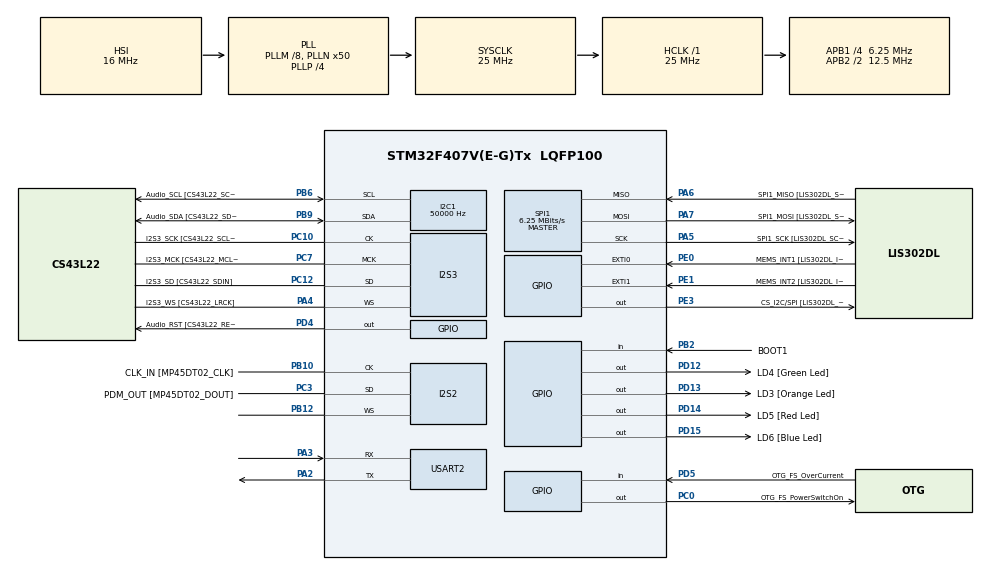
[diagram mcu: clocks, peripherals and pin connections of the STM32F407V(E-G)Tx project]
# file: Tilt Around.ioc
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I2C1.ClockSpeed=50000
I2S2.AudioFreq=I2S_AUDIOFREQ_192K
I2S2.ErrorAudioFreq=2.3 %
I2S2.Mode=I2S_MODE_MASTER_RX
I2S2.RealAudioFreq=196.428 KHz
I2S3.AudioFreq=I2S_AUDIOFREQ_44K
I2S3.ErrorAudioFreq=-2.34 %
I2S3.RealAudioFreq=42.968 KHz
I2S3.Standard=I2S_STANDARD_MSB
Mcu.Family=STM32F4
Mcu.Name=STM32F407V(E-G)Tx
Mcu.Package=LQFP100
NVIC.PriorityGroup=NVIC_PRIORITYGROUP_0
NVIC.TIM3_IRQn=true\:0\:0\:false\:false\:true
PA10.GPIO_Label=OTG_FS_ID
PA10.GPIO_Mode=GPIO_MODE_AF_PP
PA10.GPIO_PuPd=GPIO_NOPULL
PA10.GPIO_Speed=GPIO_SPEED_FREQ_LOW
PA10.Signal=USB_OTG_FS_ID
PA11.GPIO_Label=OTG_FS_DM
PA11.GPIO_Mode=GPIO_MODE_AF_PP
PA11.GPIO_PuPd=GPIO_NOPULL
PA11.GPIO_Speed=GPIO_SPEED_FREQ_LOW
PA11.Signal=USB_OTG_FS_DM
PA12.GPIO_Label=OTG_FS_DP
PA12.GPIO_Mode=GPIO_MODE_AF_PP
PA12.GPIO_PuPd=GPIO_NOPULL
PA12.GPIO_Speed=GPIO_SPEED_FREQ_LOW
PA12.Signal=USB_OTG_FS_DP
PA13.GPIO_Label=SWDIO
PA13.Signal=SYS_JTMS-SWDIO
PA14.GPIO_Label=SWCLK
PA14.Signal=SYS_JTCK-SWCLK
PA2.Mode=Asynchronous
PA2.Signal=USART2_TX
PA3.Mode=Asynchronous
PA3.Signal=USART2_RX
PA4.GPIO_Label=I2S3_WS [CS43L22_LRCK]
PA4.GPIO_Mode=GPIO_MODE_AF_PP
PA4.GPIO_PuPd=GPIO_NOPULL
PA4.GPIO_Speed=GPIO_SPEED_FREQ_LOW
PA4.Mode=Half_Duplex_Master
PA4.Signal=I2S3_WS
PA5.GPIO_Label=SPI1_SCK [LIS302DL_SCL/SPC]
PA5.GPIO_Mode=GPIO_MODE_AF_PP
PA5.GPIO_PuPd=GPIO_NOPULL
PA5.GPIO_Speed=GPIO_SPEED_FREQ_LOW
PA5.Mode=Full_Duplex_Master
PA5.Signal=SPI1_SCK
PA6.GPIO_Label=SPI1_MISO [LIS302DL_SDO]
PA6.GPIO_Mode=GPIO_MODE_AF_PP
PA6.GPIO_PuPd=GPIO_NOPULL
PA6.GPIO_Speed=GPIO_SPEED_FREQ_LOW
PA6.Mode=Full_Duplex_Master
PA6.Signal=SPI1_MISO
PA7.GPIO_Label=SPI1_MOSI [LIS302DL_SDA/SDI/SDO]
PA7.GPIO_Mode=GPIO_MODE_AF_PP
PA7.GPIO_PuPd=GPIO_NOPULL
PA7.GPIO_Speed=GPIO_SPEED_FREQ_LOW
PA7.Mode=Full_Duplex_Master
PA7.Signal=SPI1_MOSI
PA9.GPIO_Label=VBUS_FS
PA9.GPIO_Mode=GPIO_MODE_INPUT
PA9.GPIO_PuPd=GPIO_NOPULL
PA9.Signal=USB_OTG_FS_VBUS
PB10.GPIO_Label=CLK_IN [MP45DT02_CLK]
PB10.GPIO_Mode=GPIO_MODE_AF_PP
PB10.GPIO_PuPd=GPIO_NOPULL
PB10.GPIO_Speed=GPIO_SPEED_FREQ_LOW
PB10.Mode=Half_Duplex_Master
PB10.Signal=I2S2_CK
PB12.Mode=Half_Duplex_Master
PB12.Signal=I2S2_WS
PB2.GPIO_Label=BOOT1
PB2.GPIO_Mode=GPIO_MODE_INPUT
PB2.GPIO_PuPd=GPIO_NOPULL
PB2.Signal=GPIO_Input
PB3.GPIO_Label=SWO
PB3.Signal=SYS_JTDO-SWO
PB6.GPIO_Label=Audio_SCL [CS43L22_SCL]
PB6.GPIO_Mode=GPIO_MODE_AF_OD
PB6.GPIO_PuPd=GPIO_NOPULL
PB6.GPIO_Speed=GPIO_SPEED_FREQ_LOW
PB6.Mode=I2C
PB6.Signal=I2C1_SCL
PB9.GPIO_Label=Audio_SDA [CS43L22_SDA]
PB9.GPIO_Mode=GPIO_MODE_AF_OD
PB9.GPIO_PuPd=GPIO_NOPULL
PB9.GPIO_Speed=GPIO_SPEED_FREQ_LOW
PB9.Mode=I2C
PB9.Signal=I2C1_SDA
PC0.GPIO_Label=OTG_FS_PowerSwitchOn
PC0.GPIO_PuPd=GPIO_NOPULL
PC0.GPIO_Speed=GPIO_SPEED_FREQ_LOW
PC0.PinState=GPIO_PIN_SET
PC0.Signal=GPIO_Output
PC10.GPIO_Label=I2S3_SCK [CS43L22_SCLK]
PC10.GPIO_Mode=GPIO_MODE_AF_PP
PC10.GPIO_PuPd=GPIO_NOPULL
PC10.GPIO_Speed=GPIO_SPEED_FREQ_LOW
PC10.Mode=Half_Duplex_Master
PC10.Signal=I2S3_CK
PC12.GPIO_Label=I2S3_SD [CS43L22_SDIN]
PC12.GPIO_Mode=GPIO_MODE_AF_PP
PC12.GPIO_PuPd=GPIO_NOPULL
PC12.GPIO_Speed=GPIO_SPEED_FREQ_LOW
PC12.Mode=Half_Duplex_Master
PC12.Signal=I2S3_SD
PC14-OSC32_IN.GPIO_Label=PC14-OSC32_IN
PC14-OSC32_IN.Signal=RCC_OSC32_IN
PC15-OSC32_OUT.GPIO_Label=PC15-OSC32_OUT
PC15-OSC32_OUT.Signal=RCC_OSC32_OUT
PC3.GPIO_Label=PDM_OUT [MP45DT02_DOUT]
PC3.GPIO_Mode=GPIO_MODE_AF_PP
PC3.GPIO_PuPd=GPIO_NOPULL
PC3.GPIO_Speed=GPIO_SPEED_FREQ_LOW
PC3.Mode=Half_Duplex_Master
PC3.Signal=I2S2_SD
PC7.GPIO_Label=I2S3_MCK [CS43L22_MCLK]
PC7.GPIO_Mode=GPIO_MODE_AF_PP
PC7.GPIO_PuPd=GPIO_NOPULL
PC7.GPIO_Speed=GPIO_SPEED_FREQ_LOW
PC7.Mode=Master_Clock_Activated
PC7.Signal=I2S3_MCK
PD12.GPIO_Label=LD4 [Green Led]
PD12.GPIO_PuPd=GPIO_NOPULL
PD12.GPIO_Speed=GPIO_SPEED_FREQ_LOW
PD12.Signal=GPIO_Output
PD13.GPIO_Label=LD3 [Orange Led]
PD13.GPIO_PuPd=GPIO_NOPULL
PD13.GPIO_Speed=GPIO_SPEED_FREQ_LOW
PD13.Signal=GPIO_Output
PD14.GPIO_Label=LD5 [Red Led]
PD14.GPIO_PuPd=GPIO_NOPULL
PD14.GPIO_Speed=GPIO_SPEED_FREQ_LOW
PD14.Signal=GPIO_Output
PD15.GPIO_Label=LD6 [Blue Led]
PD15.GPIO_PuPd=GPIO_NOPULL
PD15.GPIO_Speed=GPIO_SPEED_FREQ_LOW
PD15.Signal=GPIO_Output
PD4.GPIO_Label=Audio_RST [CS43L22_RESET]
PD4.GPIO_PuPd=GPIO_NOPULL
PD4.GPIO_Speed=GPIO_SPEED_FREQ_LOW
PD4.Signal=GPIO_Output
PD5.GPIO_Label=OTG_FS_OverCurrent
PD5.GPIO_Mode=GPIO_MODE_INPUT
PD5.GPIO_PuPd=GPIO_NOPULL
PD5.Signal=GPIO_Input
PE0.GPIO_Label=MEMS_INT1 [LIS302DL_INT1]
PE0.Signal=GPXTI0
PE1.GPIO_Label=MEMS_INT2 [LIS302DL_INT2]
PE1.GPIO_ModeDefaultEXTI=GPIO_MODE_EVT_RISING
PE1.GPIO_PuPd=GPIO_NOPULL
PE1.Signal=GPXTI1
PE3.GPIO_Label=CS_I2C/SPI [LIS302DL_CS_I2C/SPI]
PE3.GPIO_PuPd=GPIO_NOPULL
PE3.GPIO_Speed=GPIO_SPEED_FREQ_LOW
PE3.Signal=GPIO_Output
PH0-OSC_IN.GPIO_Label=PH0-OSC_IN
PH0-OSC_IN.Signal=RCC_OSC_IN
PH1-OSC_OUT.GPIO_Label=PH1-OSC_OUT
PH1-OSC_OUT.Signal=RCC_OSC_OUT
ProjectManager.HeapSize=0x200
ProjectManager.StackSize=0x400
ProjectManager.TargetToolchain=SW4STM32
RCC.48MHZClocksFreq_Value=14285714.285714285
RCC.AHBFreq_Value=25000000
RCC.APB1CLKDivider=RCC_HCLK_DIV4
RCC.APB1Freq_Value=6250000
RCC.APB1TimFreq_Value=12500000
RCC.APB2CLKDivider=RCC_HCLK_DIV2
RCC.APB2Freq_Value=12500000
RCC.APB2TimFreq_Value=25000000
RCC.CortexFreq_Value=25000000
RCC.HCLKFreq_Value=25000000
RCC.HSE_VALUE=8000000
RCC.HSI_VALUE=16000000
RCC.LSE_VALUE=32768
RCC.PLLI2SN=88
RCC.PLLI2SR=4
RCC.PLLM=8
RCC.PLLN=50
RCC.PLLP=RCC_PLLP_DIV4
RCC.PLLQ=7
RCC.SYSCLKFreq_VALUE=25000000
RCC.SYSCLKSource=RCC_SYSCLKSOURCE_PLLCLK
RCC.VCOOutputFreq_Value=100000000
SPI1.CalculateBaudRate=6.25 MBits/s
SPI1.Mode=SPI_MODE_MASTER
TIM3.Period=999
TIM3.Prescaler=249
VP_TIM1_VS_ClockSourceINT.Mode=Internal
VP_TIM3_VS_ClockSourceINT.Mode=Internal
board=STM32F407G-DISC1

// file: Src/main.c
/**
  ******************************************************************************
  * File Name          : main.c
  * Description        : Main program body
  ******************************************************************************
  *
  * COPYRIGHT(c) 2016 STMicroelectronics
  *
  * Redistribution and use in source and binary forms, with or without modification,
  * are permitted provided that the following conditions are met:
  *   1. Redistributions of source code must retain the above copyright notice,
  *      this list of conditions and the following disclaimer.
  *   2. Redistributions in binary form must reproduce the above copyright notice,
  *      this list of conditions and the following disclaimer in the documentation
  *      and/or other materials provided with the distribution.
  *   3. Neither the name of STMicroelectronics nor the names of its contributors
  *      may be used to endorse or promote products derived from this software
  *      without specific prior written permission.
  *
  * THIS SOFTWARE IS PROVIDED BY THE COPYRIGHT HOLDERS AND CONTRIBUTORS "AS IS"
  * AND ANY EXPRESS OR IMPLIED WARRANTIES, INCLUDING, BUT NOT LIMITED TO, THE
  * IMPLIED WARRANTIES OF MERCHANTABILITY AND FITNESS FOR A PARTICULAR PURPOSE ARE
  * DISCLAIMED. IN NO EVENT SHALL THE COPYRIGHT HOLDER OR CONTRIBUTORS BE LIABLE
  * FOR ANY DIRECT, INDIRECT, INCIDENTAL, SPECIAL, EXEMPLARY, OR CONSEQUENTIAL
  * DAMAGES (INCLUDING, BUT NOT LIMITED TO, PROCUREMENT OF SUBSTITUTE GOODS OR
  * SERVICES; LOSS OF USE, DATA, OR PROFITS; OR BUSINESS INTERRUPTION) HOWEVER
  * CAUSED AND ON ANY THEORY OF LIABILITY, WHETHER IN CONTRACT, STRICT LIABILITY,
  * OR TORT (INCLUDING NEGLIGENCE OR OTHERWISE) ARISING IN ANY WAY OUT OF THE USE
  * OF THIS SOFTWARE, EVEN IF ADVISED OF THE POSSIBILITY OF SUCH DAMAGE.
  *
  ******************************************************************************
  */
#include "main.h"
#include "stm32f4xx_hal.h"

/* USER CODE BEGIN Includes */
// Common
#include <math.h>
#include <string.h>
#define SPI_TIMEOUT 20
#define I2C_TIMEOUT 50
#define UART_TIMEOUT 1
#define I2S_TIMEOUT 1000

// LIS302DL: Accelerometer
#define ACC_CS_GPIO_TYPE GPIOE
#define ACC_CS_GPIO_PIN_NUMBER GPIO_PIN_3

// MP45DT02: Microphone
#define PDM_BUFFER_SIZE 20
#define PCM_BUFFER_SIZE 2500
#define LEAKY_KEEP_RATE 0.95
#define PDM_STREAM_BLOCK_SIZE_BIT 8
#define LOUD_THRESHOLD 55
#define LOUD_THRESHOLD_ACCURATE 800

// CS43L22: Speaker
#define SPEAKER_RESET_GPIO_TYPE GPIOD
#define SPEAKER_RESET_GPIO_PIN_NUMBER GPIO_PIN_4
#define DELAY_DURATION 500
#define BEEP_VOLUME 0x1A
#define BEAT 100

// Control
#define AREA_WIDTH 75
#define AREA_HEIGHT 55
/* USER CODE END Includes */

I2C_HandleTypeDef hi2c1;

I2S_HandleTypeDef hi2s2;
I2S_HandleTypeDef hi2s3;

SPI_HandleTypeDef hspi1;

TIM_HandleTypeDef htim1;
TIM_HandleTypeDef htim3;

UART_HandleTypeDef huart2;

/* USER CODE BEGIN PV */
/* Private variables ---------------------------------------------------------*/
// LIS302DL: Accelerometer
uint8_t acc_write_nonincremented_address_header = 0b00;
uint8_t acc_read_nonincremented_address_header = 0b10;
/* USER CODE END PV */

void SystemClock_Config(void);
void Error_Handler(void);
static void MX_GPIO_Init(void);
static void MX_USART2_UART_Init(void);
static void MX_I2C1_Init(void);
static void MX_I2S3_Init(void);
static void MX_SPI1_Init(void);
static void MX_TIM3_Init(void);
static void MX_I2S2_Init(void);
static void MX_TIM1_Init(void);

/* USER CODE BEGIN PFP */
/* Private function prototypes -----------------------------------------------*/
// Common
void send_data_via_uart(char *data);
void send_data_via_uart_with_size(char *data, uint16_t size);

// LIS302DL: Accelerometer
void set_cs_before_communicating_with_acc();
void set_cs_after_communicating_with_acc();
uint8_t read_from_acc_reg(uint8_t address);
void write_to_acc_reg(uint8_t address, uint8_t data);
uint8_t acc_who_am_i();
void acc_init();
int8_t acc_read_x();
int8_t acc_read_y();
int8_t acc_read_z();
void show_acc_led_indicator(int8_t x_acc, int8_t y_acc, int8_t z_acc);
void HAL_TIM_PeriodElapsedCallback(TIM_HandleTypeDef *htim);

// MP45DT02: Microphone
uint16_t read_pdm();
int calculate_volume(uint16_t data);
float abs_float(float in);
uint8_t is_loud();
uint8_t is_loud_accurate();

// CS43L22: Speaker
void play_musical_note(int index);
void play_musical_note_with_beat(int index, float beat);
void write_to_speaker_reg(uint8_t address, uint8_t data);
void speaker_init();
int character_note_index_mapping(uint8_t character);

// Control
void print_area();
void flush_screen();
void update_main_character(int8_t x_acc, int8_t y_acc, int8_t z_acc);
/* USER CODE END PFP */

/* USER CODE BEGIN 0 */
// Common
char uart_buffer[100];

// MP45DT02: Microphone
uint16_t pdm_buffer[PDM_BUFFER_SIZE];
uint16_t pdm_value = 0;
int8_t pcm_value = 0;
uint16_t pcm_count = 0;

float leaky_pcm_buffer = 0.0; // For PDM moving average
float leaky_amp_buffer = 0.0; // For |PCM| moving average

double pcm_square = 0;
float max_amp = 0;

// CS43L22: Speaker
uint8_t musical_note[] = { 0x01, 0x11, 0x21, 0x31, 0x41, 0x51, 0x61, 0x71, 0x81,
		0x91, 0xA1, 0xB1, 0xC1, 0xD1, 0xE1, 0xF1 };
char musical_note_name[][2] = { "C4", "C5", "D5", "E5", "F5", "G5", "A5", "B5", "C6",
		"D6", "E6", "F6", "G6", "A6", "B6", "C7" };
int is_playing = 0;

// Control
int area[AREA_HEIGHT][AREA_WIDTH];
int main_character_i = 27;
int main_character_j = 37;
int beat_duration = 550;
int beat_duration_rewind_mode = 200;
int rewind_mode = 0;
int pause = 0;
int range_speed_up = 300;
int base_beat_duration = 600;
/* USER CODE END 0 */

int main(void)
{
  /* USER CODE BEGIN 1 */
	// Common
	int i;
	int state = 0;

	int number_of_note = 16;
	int note[] = { 6, -1, 6, 8, 9, 9, 8, 6, 9, 5, 9, 8, 9, 5, -1, -1 };
	float beat[] = { 0.5,
			0.5, 0.5, 0.5, 0.5, 0.25, 0.25, 0.5, 0.5, 0.5, 0.5, 0.5, 0.5, 0.5, 1.0, 0.5 };
  /* USER CODE END 1 */

  /* MCU Configuration----------------------------------------------------------*/

  /* Reset of all peripherals, Initializes the Flash interface and the Systick. */
  HAL_Init();

  /* Configure the system clock */
  SystemClock_Config();

  /* Initialize all configured peripherals */
  MX_GPIO_Init();
  MX_USART2_UART_Init();
  MX_I2C1_Init();
  MX_I2S3_Init();
  MX_SPI1_Init();
  MX_TIM3_Init();
  MX_I2S2_Init();
  MX_TIM1_Init();

  /* USER CODE BEGIN 2 */
  // Initialize
  acc_init();
  speaker_init();
  i = 0;
  // Start timer3 for accelerometer
  HAL_TIM_Base_Start_IT(&htim3);

  /* USER CODE END 2 */

  /* Infinite loop */
  while (1)
  {

  /* USER CODE BEGIN 3 */
		if(state == 0) {
			if(is_loud_accurate()) {
				state = 1;
			} else {
				state = 0;
			}
		} else if(state == 1) {
			if(!is_playing && !pause) {
				is_playing = 1;
				play_musical_note_with_beat(note[i], beat[i]);
				if(rewind_mode) {
					if(i == 0) i = number_of_note - 1;
					else i--;
				} else {
					i = (i + 1) % number_of_note;
				}
			}
			state = 1;
		}

  }
  /* USER CODE END 3 */

}

/** System Clock Configuration
*/
void SystemClock_Config(void)
{

  RCC_OscInitTypeDef RCC_OscInitStruct;
  RCC_ClkInitTypeDef RCC_ClkInitStruct;
  RCC_PeriphCLKInitTypeDef PeriphClkInitStruct;

    /**Configure the main internal regulator output voltage
    */
  __HAL_RCC_PWR_CLK_ENABLE();

  __HAL_PWR_VOLTAGESCALING_CONFIG(PWR_REGULATOR_VOLTAGE_SCALE1);

    /**Initializes the CPU, AHB and APB busses clocks
    */
  RCC_OscInitStruct.OscillatorType = RCC_OSCILLATORTYPE_HSI;
  RCC_OscInitStruct.HSIState = RCC_HSI_ON;
  RCC_OscInitStruct.HSICalibrationValue = 16;
  RCC_OscInitStruct.PLL.PLLState = RCC_PLL_ON;
  RCC_OscInitStruct.PLL.PLLSource = RCC_PLLSOURCE_HSI;
  RCC_OscInitStruct.PLL.PLLM = 8;
  RCC_OscInitStruct.PLL.PLLN = 50;
  RCC_OscInitStruct.PLL.PLLP = RCC_PLLP_DIV4;
  RCC_OscInitStruct.PLL.PLLQ = 7;
  if (HAL_RCC_OscConfig(&RCC_OscInitStruct) != HAL_OK)
  {
    Error_Handler();
  }

    /**Initializes the CPU, AHB and APB busses clocks
    */
  RCC_ClkInitStruct.ClockType = RCC_CLOCKTYPE_HCLK|RCC_CLOCKTYPE_SYSCLK
                              |RCC_CLOCKTYPE_PCLK1|RCC_CLOCKTYPE_PCLK2;
  RCC_ClkInitStruct.SYSCLKSource = RCC_SYSCLKSOURCE_PLLCLK;
  RCC_ClkInitStruct.AHBCLKDivider = RCC_SYSCLK_DIV1;
  RCC_ClkInitStruct.APB1CLKDivider = RCC_HCLK_DIV4;
  RCC_ClkInitStruct.APB2CLKDivider = RCC_HCLK_DIV2;

  if (HAL_RCC_ClockConfig(&RCC_ClkInitStruct, FLASH_LATENCY_0) != HAL_OK)
  {
    Error_Handler();
  }

  PeriphClkInitStruct.PeriphClockSelection = RCC_PERIPHCLK_I2S;
  PeriphClkInitStruct.PLLI2S.PLLI2SN = 88;
  PeriphClkInitStruct.PLLI2S.PLLI2SR = 4;
  if (HAL_RCCEx_PeriphCLKConfig(&PeriphClkInitStruct) != HAL_OK)
  {
    Error_Handler();
  }

    /**Configure the Systick interrupt time
    */
  HAL_SYSTICK_Config(HAL_RCC_GetHCLKFreq()/1000);

    /**Configure the Systick
    */
  HAL_SYSTICK_CLKSourceConfig(SYSTICK_CLKSOURCE_HCLK);

  /* SysTick_IRQn interrupt configuration */
  HAL_NVIC_SetPriority(SysTick_IRQn, 0, 0);
}

/* I2C1 init function */
static void MX_I2C1_Init(void)
{

  hi2c1.Instance = I2C1;
  hi2c1.Init.ClockSpeed = 50000;
  hi2c1.Init.DutyCycle = I2C_DUTYCYCLE_2;
  hi2c1.Init.OwnAddress1 = 0;
  hi2c1.Init.AddressingMode = I2C_ADDRESSINGMODE_7BIT;
  hi2c1.Init.DualAddressMode = I2C_DUALADDRESS_DISABLE;
  hi2c1.Init.OwnAddress2 = 0;
  hi2c1.Init.GeneralCallMode = I2C_GENERALCALL_DISABLE;
  hi2c1.Init.NoStretchMode = I2C_NOSTRETCH_DISABLE;
  if (HAL_I2C_Init(&hi2c1) != HAL_OK)
  {
    Error_Handler();
  }

}

/* I2S2 init function */
static void MX_I2S2_Init(void)
{

  hi2s2.Instance = SPI2;
  hi2s2.Init.Mode = I2S_MODE_MASTER_RX;
  hi2s2.Init.Standard = I2S_STANDARD_PHILIPS;
  hi2s2.Init.DataFormat = I2S_DATAFORMAT_16B;
  hi2s2.Init.MCLKOutput = I2S_MCLKOUTPUT_DISABLE;
  hi2s2.Init.AudioFreq = I2S_AUDIOFREQ_192K;
  hi2s2.Init.CPOL = I2S_CPOL_LOW;
  hi2s2.Init.ClockSource = I2S_CLOCK_PLL;
  hi2s2.Init.FullDuplexMode = I2S_FULLDUPLEXMODE_DISABLE;
  if (HAL_I2S_Init(&hi2s2) != HAL_OK)
  {
    Error_Handler();
  }

}

/* I2S3 init function */
static void MX_I2S3_Init(void)
{

  hi2s3.Instance = SPI3;
  hi2s3.Init.Mode = I2S_MODE_MASTER_TX;
  hi2s3.Init.Standard = I2S_STANDARD_MSB;
  hi2s3.Init.DataFormat = I2S_DATAFORMAT_16B;
  hi2s3.Init.MCLKOutput = I2S_MCLKOUTPUT_ENABLE;
  hi2s3.Init.AudioFreq = I2S_AUDIOFREQ_44K;
  hi2s3.Init.CPOL = I2S_CPOL_LOW;
  hi2s3.Init.ClockSource = I2S_CLOCK_PLL;
  hi2s3.Init.FullDuplexMode = I2S_FULLDUPLEXMODE_DISABLE;
  if (HAL_I2S_Init(&hi2s3) != HAL_OK)
  {
    Error_Handler();
  }

}

/* SPI1 init function */
static void MX_SPI1_Init(void)
{

  hspi1.Instance = SPI1;
  hspi1.Init.Mode = SPI_MODE_MASTER;
  hspi1.Init.Direction = SPI_DIRECTION_2LINES;
  hspi1.Init.DataSize = SPI_DATASIZE_8BIT;
  hspi1.Init.CLKPolarity = SPI_POLARITY_LOW;
  hspi1.Init.CLKPhase = SPI_PHASE_1EDGE;
  hspi1.Init.NSS = SPI_NSS_SOFT;
  hspi1.Init.BaudRatePrescaler = SPI_BAUDRATEPRESCALER_2;
  hspi1.Init.FirstBit = SPI_FIRSTBIT_MSB;
  hspi1.Init.TIMode = SPI_TIMODE_DISABLE;
  hspi1.Init.CRCCalculation = SPI_CRCCALCULATION_DISABLE;
  hspi1.Init.CRCPolynomial = 10;
  if (HAL_SPI_Init(&hspi1) != HAL_OK)
  {
    Error_Handler();
  }

}

/* TIM1 init function */
static void MX_TIM1_Init(void)
{

  TIM_ClockConfigTypeDef sClockSourceConfig;
  TIM_MasterConfigTypeDef sMasterConfig;

  htim1.Instance = TIM1;
  htim1.Init.Prescaler = 0;
  htim1.Init.CounterMode = TIM_COUNTERMODE_UP;
  htim1.Init.Period = 0;
  htim1.Init.ClockDivision = TIM_CLOCKDIVISION_DIV1;
  htim1.Init.RepetitionCounter = 0;
  if (HAL_TIM_Base_Init(&htim1) != HAL_OK)
  {
    Error_Handler();
  }

  sClockSourceConfig.ClockSource = TIM_CLOCKSOURCE_INTERNAL;
  if (HAL_TIM_ConfigClockSource(&htim1, &sClockSourceConfig) != HAL_OK)
  {
    Error_Handler();
  }

  sMasterConfig.MasterOutputTrigger = TIM_TRGO_RESET;
  sMasterConfig.MasterSlaveMode = TIM_MASTERSLAVEMODE_DISABLE;
  if (HAL_TIMEx_MasterConfigSynchronization(&htim1, &sMasterConfig) != HAL_OK)
  {
    Error_Handler();
  }

}

/* TIM3 init function */
static void MX_TIM3_Init(void)
{

  TIM_ClockConfigTypeDef sClockSourceConfig;
  TIM_MasterConfigTypeDef sMasterConfig;

  htim3.Instance = TIM3;
  htim3.Init.Prescaler = 249;
  htim3.Init.CounterMode = TIM_COUNTERMODE_UP;
  htim3.Init.Period = 999;
  htim3.Init.ClockDivision = TIM_CLOCKDIVISION_DIV1;
  if (HAL_TIM_Base_Init(&htim3) != HAL_OK)
  {
    Error_Handler();
  }

  sClockSourceConfig.ClockSource = TIM_CLOCKSOURCE_INTERNAL;
  if (HAL_TIM_ConfigClockSource(&htim3, &sClockSourceConfig) != HAL_OK)
  {
    Error_Handler();
  }

  sMasterConfig.MasterOutputTrigger = TIM_TRGO_RESET;
  sMasterConfig.MasterSlaveMode = TIM_MASTERSLAVEMODE_DISABLE;
  if (HAL_TIMEx_MasterConfigSynchronization(&htim3, &sMasterConfig) != HAL_OK)
  {
    Error_Handler();
  }

}

/* USART2 init function */
static void MX_USART2_UART_Init(void)
{

  huart2.Instance = USART2;
  huart2.Init.BaudRate = 115200;
  huart2.Init.WordLength = UART_WORDLENGTH_8B;
  huart2.Init.StopBits = UART_STOPBITS_1;
  huart2.Init.Parity = UART_PARITY_NONE;
  huart2.Init.Mode = UART_MODE_TX_RX;
  huart2.Init.HwFlowCtl = UART_HWCONTROL_NONE;
  huart2.Init.OverSampling = UART_OVERSAMPLING_16;
  if (HAL_UART_Init(&huart2) != HAL_OK)
  {
    Error_Handler();
  }

}

/** Configure pins as
        * Analog
        * Input
        * Output
        * EVENT_OUT
        * EXTI
     PA9   ------> USB_OTG_FS_VBUS
     PA10   ------> USB_OTG_FS_ID
     PA11   ------> USB_OTG_FS_DM
     PA12   ------> USB_OTG_FS_DP
*/
static void MX_GPIO_Init(void)
{

  GPIO_InitTypeDef GPIO_InitStruct;

  /* GPIO Ports Clock Enable */
  __HAL_RCC_GPIOE_CLK_ENABLE();
  __HAL_RCC_GPIOC_CLK_ENABLE();
  __HAL_RCC_GPIOH_CLK_ENABLE();
  __HAL_RCC_GPIOA_CLK_ENABLE();
  __HAL_RCC_GPIOB_CLK_ENABLE();
  __HAL_RCC_GPIOD_CLK_ENABLE();

  /*Configure GPIO pin Output Level */
  HAL_GPIO_WritePin(CS_I2C_SPI_GPIO_Port, CS_I2C_SPI_Pin, GPIO_PIN_RESET);

  /*Configure GPIO pin Output Level */
  HAL_GPIO_WritePin(OTG_FS_PowerSwitchOn_GPIO_Port, OTG_FS_PowerSwitchOn_Pin, GPIO_PIN_SET);

  /*Configure GPIO pin Output Level */
  HAL_GPIO_WritePin(GPIOD, LD4_Pin|LD3_Pin|LD5_Pin|LD6_Pin
                          |Audio_RST_Pin, GPIO_PIN_RESET);

  /*Configure GPIO pin : CS_I2C_SPI_Pin */
  GPIO_InitStruct.Pin = CS_I2C_SPI_Pin;
  GPIO_InitStruct.Mode = GPIO_MODE_OUTPUT_PP;
  GPIO_InitStruct.Pull = GPIO_NOPULL;
  GPIO_InitStruct.Speed = GPIO_SPEED_FREQ_LOW;
  HAL_GPIO_Init(CS_I2C_SPI_GPIO_Port, &GPIO_InitStruct);

  /*Configure GPIO pin : OTG_FS_PowerSwitchOn_Pin */
  GPIO_InitStruct.Pin = OTG_FS_PowerSwitchOn_Pin;
  GPIO_InitStruct.Mode = GPIO_MODE_OUTPUT_PP;
  GPIO_InitStruct.Pull = GPIO_NOPULL;
  GPIO_InitStruct.Speed = GPIO_SPEED_FREQ_LOW;
  HAL_GPIO_Init(OTG_FS_PowerSwitchOn_GPIO_Port, &GPIO_InitStruct);

  /*Configure GPIO pin : BOOT1_Pin */
  GPIO_InitStruct.Pin = BOOT1_Pin;
  GPIO_InitStruct.Mode = GPIO_MODE_INPUT;
  GPIO_InitStruct.Pull = GPIO_NOPULL;
  HAL_GPIO_Init(BOOT1_GPIO_Port, &GPIO_InitStruct);

  /*Configure GPIO pins : LD4_Pin LD3_Pin LD5_Pin LD6_Pin
                           Audio_RST_Pin */
  GPIO_InitStruct.Pin = LD4_Pin|LD3_Pin|LD5_Pin|LD6_Pin
                          |Audio_RST_Pin;
  GPIO_InitStruct.Mode = GPIO_MODE_OUTPUT_PP;
  GPIO_InitStruct.Pull = GPIO_NOPULL;
  GPIO_InitStruct.Speed = GPIO_SPEED_FREQ_LOW;
  HAL_GPIO_Init(GPIOD, &GPIO_InitStruct);

  /*Configure GPIO pin : VBUS_FS_Pin */
  GPIO_InitStruct.Pin = VBUS_FS_Pin;
  GPIO_InitStruct.Mode = GPIO_MODE_INPUT;
  GPIO_InitStruct.Pull = GPIO_NOPULL;
  HAL_GPIO_Init(VBUS_FS_GPIO_Port, &GPIO_InitStruct);

  /*Configure GPIO pins : OTG_FS_ID_Pin OTG_FS_DM_Pin OTG_FS_DP_Pin */
  GPIO_InitStruct.Pin = OTG_FS_ID_Pin|OTG_FS_DM_Pin|OTG_FS_DP_Pin;
  GPIO_InitStruct.Mode = GPIO_MODE_AF_PP;
  GPIO_InitStruct.Pull = GPIO_NOPULL;
  GPIO_InitStruct.Speed = GPIO_SPEED_FREQ_LOW;
  GPIO_InitStruct.Alternate = GPIO_AF10_OTG_FS;
  HAL_GPIO_Init(GPIOA, &GPIO_InitStruct);

  /*Configure GPIO pin : OTG_FS_OverCurrent_Pin */
  GPIO_InitStruct.Pin = OTG_FS_OverCurrent_Pin;
  GPIO_InitStruct.Mode = GPIO_MODE_INPUT;
  GPIO_InitStruct.Pull = GPIO_NOPULL;
  HAL_GPIO_Init(OTG_FS_OverCurrent_GPIO_Port, &GPIO_InitStruct);

  /*Configure GPIO pin : MEMS_INT1_Pin */
  GPIO_InitStruct.Pin = MEMS_INT1_Pin;
  GPIO_InitStruct.Mode = GPIO_MODE_IT_RISING;
  GPIO_InitStruct.Pull = GPIO_NOPULL;
  HAL_GPIO_Init(MEMS_INT1_GPIO_Port, &GPIO_InitStruct);

  /*Configure GPIO pin : MEMS_INT2_Pin */
  GPIO_InitStruct.Pin = MEMS_INT2_Pin;
  GPIO_InitStruct.Mode = GPIO_MODE_EVT_RISING;
  GPIO_InitStruct.Pull = GPIO_NOPULL;
  HAL_GPIO_Init(MEMS_INT2_GPIO_Port, &GPIO_InitStruct);

}

/* USER CODE BEGIN 4 */
// Common
/**
 * @brief  Send data via UART.
 * @param  data: data to be sent
 * @retval None
 */
void send_data_via_uart(char *data) {
	int i = 0;
	while (data[i] != '\0') {
		HAL_UART_Transmit(&huart2, (uint8_t *) &data[i++], 1, UART_TIMEOUT);
	}
}

/**
 * @brief  Send data via UART.
 * @param  data: data to be sent
 * @retval None
 */
void send_data_via_uart_with_size(char *data, uint16_t size) {
	HAL_UART_Transmit(&huart2, (uint8_t *) data, size, UART_TIMEOUT);
}

// LIS302DL: Accelerometer
/**
 * @brief  Set CS before communicating with an accelerometer.
 * @param  None
 * @retval None
 */
void set_cs_before_communicating_with_acc() {
	// Set to low
	HAL_GPIO_WritePin(ACC_CS_GPIO_TYPE, ACC_CS_GPIO_PIN_NUMBER, GPIO_PIN_RESET);
}

/**
 * @brief  Set CS after communicating with an accelerometer.
 * @param  None
 * @retval None
 */
void set_cs_after_communicating_with_acc() {
	// Set to high
	HAL_GPIO_WritePin(ACC_CS_GPIO_TYPE, ACC_CS_GPIO_PIN_NUMBER, GPIO_PIN_SET);
}

/**
 * @brief  Read data from an specific accelerometer register.
 * @param  address: register address to be read
 * @retval a byte of read data
 */
uint8_t read_from_acc_reg(uint8_t address) {
	set_cs_before_communicating_with_acc();
	uint8_t acc_address_data = (acc_read_nonincremented_address_header << 6) | address;
	HAL_SPI_Transmit(&hspi1, &acc_address_data, 1, SPI_TIMEOUT);

	uint8_t acc_do_data;
	HAL_SPI_Receive(&hspi1, &acc_do_data, 1, SPI_TIMEOUT);
	set_cs_after_communicating_with_acc();
	return acc_do_data;
}

/**
 * @brief  Read data from an specific accelerometer register.
 * @param  address: register address to be read
 * @retval a byte of read data
 */
int8_t read_from_acc_reg_with_sign(uint8_t address) {
	set_cs_before_communicating_with_acc();
	uint8_t acc_address_data = (acc_read_nonincremented_address_header << 6) | address;
	HAL_SPI_Transmit(&hspi1, &acc_address_data, 1, SPI_TIMEOUT);

	int8_t acc_do_data;
	HAL_SPI_Receive(&hspi1, &acc_do_data, 1, SPI_TIMEOUT);
	set_cs_after_communicating_with_acc();
	return acc_do_data;
}

/**
 * @brief  Write data to an specific accelerometer register.
 * @param  address: register address to be written
 * @param  data: data to be written
 * @retval None
 */
void write_to_acc_reg(uint8_t address, uint8_t data) {
	set_cs_before_communicating_with_acc();
	uint8_t acc_address_data = (acc_write_nonincremented_address_header << 6) | address;
	HAL_SPI_Transmit(&hspi1, &acc_address_data, 1, SPI_TIMEOUT);

	uint8_t acc_di_data = data;
	HAL_SPI_Receive(&hspi1, &acc_di_data, 1, SPI_TIMEOUT);
	set_cs_after_communicating_with_acc();
}

/**
 * @brief  Fetch data from WHO_AM_I register to identify an accelerometer device.
 * @param  None
 * @retval None
 */
uint8_t acc_who_am_i() {
	uint8_t who_am_i_reg_addr = 0x0F;
	return read_from_acc_reg(who_am_i_reg_addr);
}

/**
 * @brief  Initialize accelerometer.
 * @param  None
 * @retval None
 */
void acc_init() {
	uint8_t ctrl_reg1_reg_addr = 0x20;
	uint8_t ctrl_reg1_reg_data = 0b01000111;
	write_to_acc_reg(ctrl_reg1_reg_addr, ctrl_reg1_reg_data);
}

/**
 * @brief  Read x-axis acceleration.
 * @param  None
 * @retval x-axis acceleration
 */
int8_t acc_read_x() {
	uint8_t out_x_reg_addr = 0x29;
	return read_from_acc_reg_with_sign(out_x_reg_addr);
}

/**
 * @brief  Read y-axis acceleration.
 * @param  None
 * @retval y-axis acceleration
 */
int8_t acc_read_y() {
	uint8_t out_y_reg_addr = 0x2B;
	return read_from_acc_reg_with_sign(out_y_reg_addr);
}

/**
 * @brief  Read z-axis acceleration.
 * @param  None
 * @retval z-axis acceleration
 */
int8_t acc_read_z() {
	uint8_t out_z_reg_addr = 0x2D;
	return read_from_acc_reg_with_sign(out_z_reg_addr);
}

/**
 * @brief  Read accerelation data and send them via UART.
 * @param  None
 * @retval None
 */
void read_acceleration_and_send() {
	int8_t x_acc, y_acc, z_acc;
	// Read acceleration data
	x_acc = acc_read_x();
	y_acc = acc_read_y();
	z_acc = acc_read_z();
	// sprintf(uart_buffer, "x-axis: %d, y-axis: %d, z-axis: %d\n", x_acc, y_acc, z_acc);
	// send_data_via_uart(uart_buffer);
	show_acc_led_indicator(x_acc, y_acc, z_acc);
	update_main_character(x_acc, y_acc, z_acc);
}

void show_acc_led_indicator(int8_t x_acc, int8_t y_acc, int8_t z_acc) {
	// Left
	if(x_acc < 0) {
		HAL_GPIO_WritePin(GPIOD, GPIO_PIN_12, GPIO_PIN_SET); // Green LED
	} else {
		HAL_GPIO_WritePin(GPIOD, GPIO_PIN_12, GPIO_PIN_RESET); // Green LED
	}
	// Right
	if(x_acc > 0) {
		HAL_GPIO_WritePin(GPIOD, GPIO_PIN_14, GPIO_PIN_SET); // Red LED
	} else {
		HAL_GPIO_WritePin(GPIOD, GPIO_PIN_14, GPIO_PIN_RESET); // Red LED
	}
	// Bottom
	if(y_acc < 0) {
		HAL_GPIO_WritePin(GPIOD, GPIO_PIN_15, GPIO_PIN_SET); // Blue LED
	} else {
		HAL_GPIO_WritePin(GPIOD, GPIO_PIN_15, GPIO_PIN_RESET); // Blue LED
	}
	// Top
	if(y_acc > 0) {
		HAL_GPIO_WritePin(GPIOD, GPIO_PIN_13, GPIO_PIN_SET); // Orange LED
	} else {
		HAL_GPIO_WritePin(GPIOD, GPIO_PIN_13, GPIO_PIN_RESET); // Orange LED
	}
}

void update_main_character(int8_t x_acc, int8_t y_acc, int8_t z_acc) {
	if(x_acc < -30) {
		// Left
		beat_duration = (int) (base_beat_duration + (((x_acc - 30) * range_speed_up) / 98.0));
	} else if(x_acc > 30) {
		// Right
		beat_duration = (int) (base_beat_duration - (((-x_acc - 30) * range_speed_up) / 98.0));
	} else {
		beat_duration = base_beat_duration;
	}
	// Top
	if(y_acc < -30) {
		rewind_mode = 1;
	} else if(y_acc > 30) {

	} else {
		rewind_mode = 0;
	}
}

/**
 * @brief  (Override) Period elapsed callback in non blocking mode
 * @param  htim: pointer to a TIM_HandleTypeDef structure that contains
 *               the configuration information for TIM module.
 * @retval None
 */
void HAL_TIM_PeriodElapsedCallback(TIM_HandleTypeDef *htim) {
	if (htim->Instance == TIM3) {
		read_acceleration_and_send();
	}
}

// MP45DT02: Microphone
float abs_float(float in) {
	return in < 0 ? -in : in;
}

/**
 * @brief  Calculate volume from PDM stream.
 * @param  data: PDM stream
 * @retval Volume (no unit)
 */
int calculate_volume(uint16_t data) {
	int i, volume = 0;
	for (i = 0; i < 16; i++) {
		volume += data % 2;
		data /= 2;
	}
	return volume;
}

/**
 * @brief  Read PDM stream from microphone module.
 * @param  None
 * @retval 16-bit PDM
 */
uint16_t read_pdm() {
	uint16_t pdm_stream;
	HAL_I2S_Receive(&hi2s2, &pdm_stream, 1, I2S_TIMEOUT);
	return pdm_stream;
}

uint8_t is_loud() {
	int i = 0;
	int volume_accumulate = 0;
	for(; i < 8; i++) {
		uint16_t pdm_stream = read_pdm();
		volume_accumulate += calculate_volume(pdm_stream);
	}
	sprintf(uart_buffer, "Loudness: %d\n\r", volume_accumulate);
	send_data_via_uart_with_size(uart_buffer, strlen(uart_buffer));
	return volume_accumulate > LOUD_THRESHOLD;
}

uint8_t is_loud_accurate() {
	uint8_t i;
	while(pcm_count < 2500) {
		HAL_I2S_Receive(&hi2s2, pdm_buffer, PDM_BUFFER_SIZE, I2S_TIMEOUT);
		for(i = 0; i < PDM_BUFFER_SIZE; i++) {
			pcm_value = -PDM_STREAM_BLOCK_SIZE_BIT / 2;
			pdm_value = pdm_buffer[i];
			while(pdm_value != 0) {
				pcm_value++;
				pdm_value ^= pdm_value & -pdm_value;
			}
			leaky_pcm_buffer += pcm_value;
			leaky_pcm_buffer *= LEAKY_KEEP_RATE;
			leaky_amp_buffer += abs_float(leaky_pcm_buffer);
			leaky_amp_buffer *= LEAKY_KEEP_RATE;
		}
		pcm_count++;
		if(max_amp < leaky_amp_buffer)
			max_amp = leaky_amp_buffer;
		pcm_square += (leaky_amp_buffer / 2500) * leaky_amp_buffer;
	}
	sprintf(uart_buffer, "Loudness: %d\r\n", (int) max_amp);
	send_data_via_uart_with_size(uart_buffer, strlen(uart_buffer));
	pcm_count = 0;
	pcm_square = 0;
	if((int) max_amp > LOUD_THRESHOLD_ACCURATE) {
		max_amp = 0;
		return 1;
	}
	max_amp = 0;
	return 0;
}

// CS43L22: Speaker
int character_note_index_mapping(uint8_t character) {
	if (character == 'a')
		return 1;
	else if (character == 's')
		return 2;
	else if (character == 'd')
		return 3;
	else if (character == 'f')
		return 4;
	else if (character == 'g')
		return 5;
	else if (character == 'h')
		return 6;
	else if (character == 'j')
		return 7;
	else if (character == 'k')
		return 8;
	else if (character == 'l')
		return 9;
	else if (character == 'z')
		return 10;
	else if (character == 'x')
		return 11;
	else if (character == 'c')
		return 12;
	else if (character == 'v')
		return 13;
	else if (character == 'b')
		return 14;
	else if (character == 'n')
		return 15;
	else if (character == 'm')
		return 0;
	else
		return -1;
}

void play_musical_note(int index) {
	if (index < 0 || index > 15) {
		is_playing = 0;
		return;
	}

	HAL_GPIO_TogglePin(GPIOD, GPIO_PIN_15);

	// Beep Mix Disable: disable
	write_to_speaker_reg(0x1E, 0x20);
	write_to_speaker_reg(0x1C, musical_note[index]);
	// Beep Configuration: continuous
	write_to_speaker_reg(0x1E, 0xE0);

	int i;
	for (i = 0; i < BEAT; i++) {
		HAL_I2S_Transmit(&hi2s3, (uint16_t *) "a", 100, I2C_TIMEOUT);
	}
	is_playing = 0;
}

void play_musical_note_with_beat(int index, float beat) {
	if (index < -1 || index > 15) {
		is_playing = 0;
		return;
	}

	int _beat_duration = rewind_mode ? beat_duration_rewind_mode : beat_duration;

	int cycles_compromise = (int) (beat * _beat_duration);
	uint8_t note = index >= 0 ? musical_note[index] : 0;

	HAL_GPIO_TogglePin(GPIOD, GPIO_PIN_15);

	// Beep Mix Disable: disable
	write_to_speaker_reg(0x1E, 0x20);
	write_to_speaker_reg(0x1C, note);
	// Beep Configuration: continuous
	write_to_speaker_reg(0x1E, 0xE0);

	int i;
	// Beats
	for (i = 0; i < cycles_compromise; i++) {
		if (index != -1) {
			HAL_I2S_Transmit(&hi2s3, (uint16_t *) "a", 100, I2C_TIMEOUT);
		}
	}
	is_playing = 0;
}

void write_to_speaker_reg(uint8_t address, uint8_t data) {
	// Chip address: 100101 followed by the setting of the AD0 pin (0) and R/W bit
	uint8_t chip_address = 0b10010100;
	uint8_t data_concat[2] = { address, data };
	HAL_I2C_Master_Transmit(&hi2c1, chip_address, data_concat, 2, I2C_TIMEOUT);
}

void speaker_init() {
	// Reset
	HAL_GPIO_WritePin(SPEAKER_RESET_GPIO_TYPE, SPEAKER_RESET_GPIO_PIN_NUMBER,
			GPIO_PIN_RESET);
	HAL_Delay(DELAY_DURATION);
	HAL_GPIO_WritePin(SPEAKER_RESET_GPIO_TYPE, SPEAKER_RESET_GPIO_PIN_NUMBER,
			GPIO_PIN_SET);
	HAL_Delay(DELAY_DURATION);

	// Load the required initialization settings according to section 4.11 in data sheet
	write_to_speaker_reg(0x00, 0x99);
	write_to_speaker_reg(0x47, 0x80);
	write_to_speaker_reg(0x32, 0b10111011);
	write_to_speaker_reg(0x32, 0b00111011);
	write_to_speaker_reg(0x00, 0x00);

	// Beep & Tone Configuration: set BEEP[1:0] to 11 (continuous)
	write_to_speaker_reg(0x1E, 0xC0);

	// Change beep volume
	write_to_speaker_reg(0x1D, BEEP_VOLUME);

	// Set the “Power Ctl 1” register (0x02) to 0x9E
	write_to_speaker_reg(0x02, 0x9E);
}

// Control
void print_area() {
	uint8_t i, j;
	for(i = 0; i < AREA_HEIGHT; i++) {
		for(j = 0; j < AREA_WIDTH; j++) {
			if(i == main_character_i && j == main_character_j)
				send_data_via_uart_with_size("#", 1);
			else {
				send_data_via_uart_with_size(" ", 1);
			}
		}
		send_data_via_uart_with_size("\r\n", 2);
	}
}

void flush_screen() {
	uint8_t i;
	for(i = 0; i < 2 * AREA_HEIGHT + 20; i++) {
		send_data_via_uart_with_size("\r\n", 2);
	}
}

/* USER CODE END 4 */

void Error_Handler(void)
{
  while(1)
  {
  }
}

/************************ (C) COPYRIGHT STMicroelectronics *****END OF FILE****/
